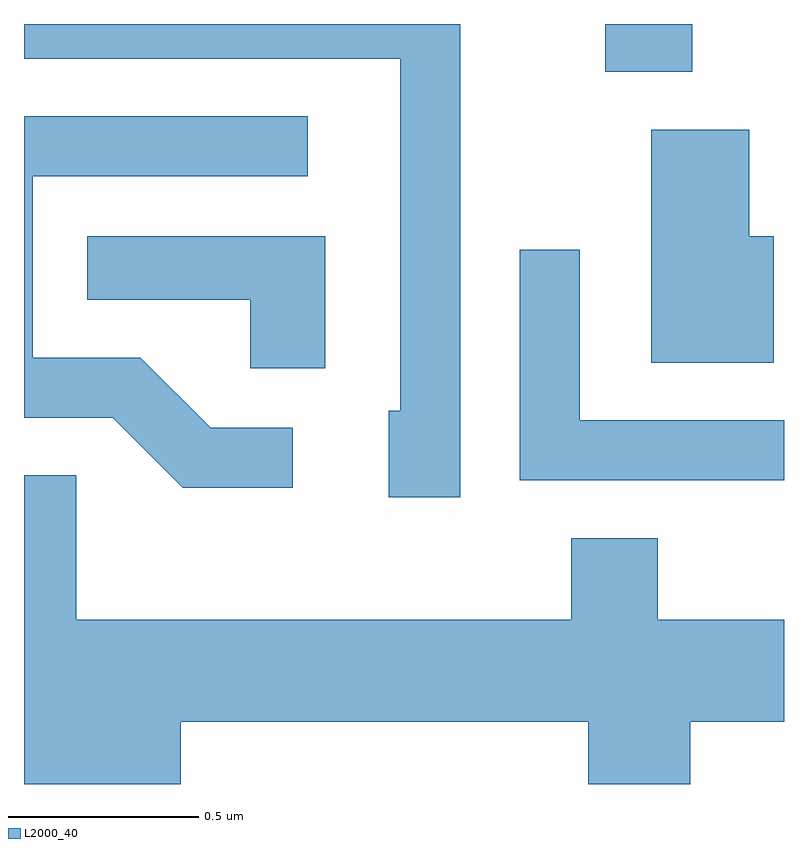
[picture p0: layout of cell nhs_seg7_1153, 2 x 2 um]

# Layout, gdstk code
import gdstk
lib = gdstk.Library(unit=1e-6, precision=1e-09)
def R(c, l, rs):  # rectangles x0, y0, x1, y1
    for r in rs: c.add(gdstk.rectangle(r[:2], r[2:], *l))
def P(c, l, *ps):  # polygons
    for p in ps: c.add(gdstk.Polygon(p, *l))
L2000_40 = (2000, 40)

nhs_seg7_1153 = lib.new_cell('nhs_seg7_1153')
R(nhs_seg7_1153, L2000_40, [(195.141,1727.126,195.369,1727.252)])
P(nhs_seg7_1153, L2000_40, [(194.759,1727.252),(193.611,1727.252),(193.611,1727.161),(194.601,1727.161),(194.601,1726.234),(194.571,1726.234),(194.571,1726.006),(194.759,1726.006)],
  [(194.318,1726.189),(194.102,1726.189),(193.917,1726.374),(193.634,1726.374),(193.634,1726.851),(194.358,1726.851),(194.358,1727.009),(193.611,1727.009),(193.611,1726.216),(193.844,1726.216),(194.029,1726.031),(194.318,1726.031)],
  [(195.584,1726.694),(195.519,1726.694),(195.519,1726.974),(195.261,1726.974),(195.261,1726.361),(195.584,1726.361)],
  [(194.404,1726.694),(193.778,1726.694),(193.778,1726.526),(194.206,1726.526),(194.206,1726.346),(194.404,1726.346)],
  [(195.611,1726.209),(195.074,1726.209),(195.074,1726.658),(194.916,1726.658),(194.916,1726.051),(195.611,1726.051)],
  [(194.024,1725.416),(195.096,1725.416),(195.096,1725.252),(195.364,1725.252),(195.364,1725.416),(195.611,1725.416),(195.611,1725.684),(195.279,1725.684),(195.279,1725.899),(195.051,1725.899),(195.051,1725.684),(193.749,1725.684),(193.749,1726.064),(193.611,1726.064),(193.611,1725.252),(194.024,1725.252)])

lib.write_gds('nhs_seg7_1153.gds')
